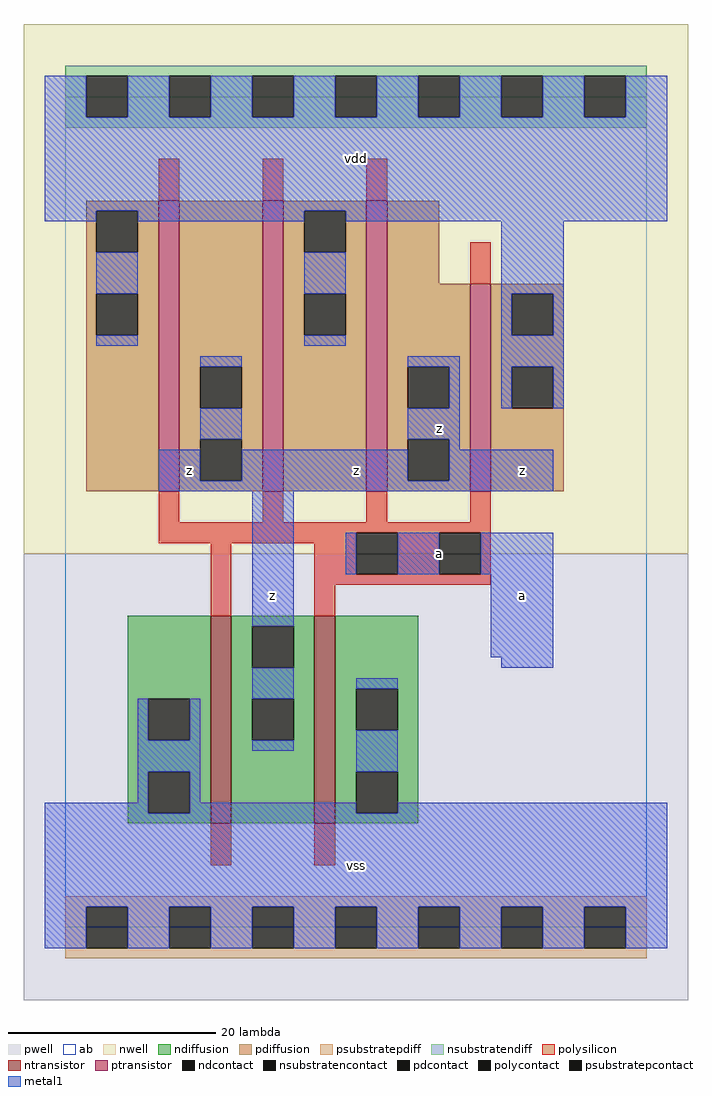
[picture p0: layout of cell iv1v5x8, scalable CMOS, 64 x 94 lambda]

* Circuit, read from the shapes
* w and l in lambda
.subckt iv1v5x8 a vdd vss z
M1 z a vss vss nfet w=20 l=2 m=2
M2 z a vdd vdd pfet w=28 l=2 m=3
M3 vdd a z vdd pfet w=20 l=2
.ends

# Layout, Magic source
magic
tech scmos
<< ab >>
rect 0 0 56 80
<< pwell >>
rect -4 -7 60 36
<< nwell >>
rect -4 36 60 87
<< polysilicon >>
rect 9 70 11 74
rect 19 70 21 74
rect 29 70 31 74
rect 39 62 41 66
rect 9 39 11 42
rect 19 39 21 42
rect 29 39 31 42
rect 39 39 41 42
rect 9 38 41 39
rect 9 37 28 38
rect 14 30 16 37
rect 24 34 28 37
rect 32 34 36 38
rect 40 34 41 38
rect 24 33 41 34
rect 24 30 26 33
rect 14 6 16 10
rect 24 6 26 10
<< ndiffusion >>
rect 6 22 14 30
rect 6 18 8 22
rect 12 18 14 22
rect 6 15 14 18
rect 6 11 8 15
rect 12 11 14 15
rect 6 10 14 11
rect 16 29 24 30
rect 16 25 18 29
rect 22 25 24 29
rect 16 22 24 25
rect 16 18 18 22
rect 22 18 24 22
rect 16 10 24 18
rect 26 23 34 30
rect 26 19 28 23
rect 32 19 34 23
rect 26 15 34 19
rect 26 11 28 15
rect 32 11 34 15
rect 26 10 34 11
<< pdiffusion >>
rect 2 69 9 70
rect 2 65 3 69
rect 7 65 9 69
rect 2 61 9 65
rect 2 57 3 61
rect 7 57 9 61
rect 2 42 9 57
rect 11 54 19 70
rect 11 50 13 54
rect 17 50 19 54
rect 11 47 19 50
rect 11 43 13 47
rect 17 43 19 47
rect 11 42 19 43
rect 21 69 29 70
rect 21 65 23 69
rect 27 65 29 69
rect 21 61 29 65
rect 21 57 23 61
rect 27 57 29 61
rect 21 42 29 57
rect 31 62 36 70
rect 31 54 39 62
rect 31 50 33 54
rect 37 50 39 54
rect 31 47 39 50
rect 31 43 33 47
rect 37 43 39 47
rect 31 42 39 43
rect 41 61 48 62
rect 41 57 43 61
rect 47 57 48 61
rect 41 54 48 57
rect 41 50 43 54
rect 47 50 48 54
rect 41 42 48 50
<< metal1 >>
rect -2 78 2 82
rect 6 78 10 82
rect 14 78 18 82
rect 22 78 26 82
rect 30 78 34 82
rect 38 78 42 82
rect 46 78 50 82
rect 54 78 58 82
rect -2 69 58 78
rect -2 68 3 69
rect 7 68 23 69
rect 3 61 7 65
rect 3 56 7 57
rect 27 68 58 69
rect 23 61 27 65
rect 23 56 27 57
rect 42 61 48 68
rect 42 57 43 61
rect 47 57 48 61
rect 13 54 17 55
rect 13 47 17 50
rect 9 43 13 46
rect 33 54 38 55
rect 37 50 38 54
rect 42 54 48 57
rect 42 50 43 54
rect 47 50 48 54
rect 33 47 38 50
rect 17 43 33 46
rect 37 46 38 47
rect 37 43 47 46
rect 9 42 47 43
rect 18 29 22 42
rect 27 34 28 38
rect 32 34 36 38
rect 40 34 47 38
rect 41 26 47 34
rect 42 25 47 26
rect 18 22 22 25
rect 7 18 8 22
rect 12 18 13 22
rect 7 15 13 18
rect 18 17 22 18
rect 28 23 32 24
rect 7 12 8 15
rect -2 11 8 12
rect 12 12 13 15
rect 28 15 32 19
rect 12 11 28 12
rect 32 11 58 12
rect -2 2 58 11
rect -2 -2 2 2
rect 6 -2 10 2
rect 14 -2 18 2
rect 22 -2 26 2
rect 30 -2 34 2
rect 38 -2 42 2
rect 46 -2 50 2
rect 54 -2 58 2
<< ntransistor >>
rect 14 10 16 30
rect 24 10 26 30
<< ptransistor >>
rect 9 42 11 70
rect 19 42 21 70
rect 29 42 31 70
rect 39 42 41 62
<< polycontact >>
rect 28 34 32 38
rect 36 34 40 38
<< ndcontact >>
rect 8 18 12 22
rect 8 11 12 15
rect 18 25 22 29
rect 18 18 22 22
rect 28 19 32 23
rect 28 11 32 15
<< pdcontact >>
rect 3 65 7 69
rect 3 57 7 61
rect 13 50 17 54
rect 13 43 17 47
rect 23 65 27 69
rect 23 57 27 61
rect 33 50 37 54
rect 33 43 37 47
rect 43 57 47 61
rect 43 50 47 54
<< psubstratepcontact >>
rect 2 -2 6 2
rect 10 -2 14 2
rect 18 -2 22 2
rect 26 -2 30 2
rect 34 -2 38 2
rect 42 -2 46 2
rect 50 -2 54 2
<< nsubstratencontact >>
rect 2 78 6 82
rect 10 78 14 82
rect 18 78 22 82
rect 26 78 30 82
rect 34 78 38 82
rect 42 78 46 82
rect 50 78 54 82
<< psubstratepdiff >>
rect 0 2 56 3
rect 0 -2 2 2
rect 6 -2 10 2
rect 14 -2 18 2
rect 22 -2 26 2
rect 30 -2 34 2
rect 38 -2 42 2
rect 46 -2 50 2
rect 54 -2 56 2
rect 0 -3 56 -2
<< nsubstratendiff >>
rect 0 82 56 83
rect 0 78 2 82
rect 6 78 10 82
rect 14 78 18 82
rect 22 78 26 82
rect 30 78 34 82
rect 38 78 42 82
rect 46 78 50 82
rect 54 78 56 82
rect 0 77 56 78
<< labels >>
rlabel metal1 20 32 20 32 6 z
rlabel metal1 12 44 12 44 6 z
rlabel metal1 28 6 28 6 6 vss
rlabel metal1 36 36 36 36 6 a
rlabel metal1 28 44 28 44 6 z
rlabel metal1 36 48 36 48 6 z
rlabel metal1 28 74 28 74 6 vdd
rlabel metal1 44 32 44 32 6 a
rlabel metal1 44 44 44 44 6 z
<< end >>
